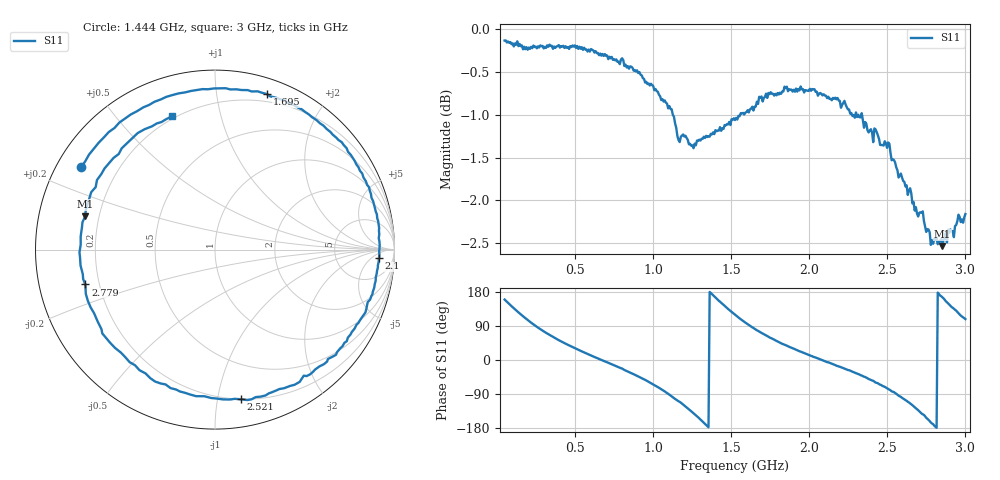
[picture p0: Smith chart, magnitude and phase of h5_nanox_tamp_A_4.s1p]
! nanovna_capture.py 2026-10-18T19:55:33+0900
! NanoVNA-F_V2 fw 0.6.0 SN 4A3639384505514B
! cal: load open short cal'ed  over 50000000-3000000000 Hz, 201 points
! points 401, avg 4
! h5 probe, tape spacer, modified (implanted) Nano X, position A (behind left button), placement 4
# HZ S RI R 50
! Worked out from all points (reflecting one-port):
!   401 points, 50 MHz to 3 GHz, reference 50 ohm
!   lowest |S11| = -2.5 dB at 2.853 GHz (marker M1), VSWR 6.90, Z = 7.36 + j6.16 ohm
!   phase of S11 starts at 160 deg and turns -772 deg over the sweep
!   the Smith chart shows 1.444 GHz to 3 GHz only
!   S11 on the Smith chart (normalised r, x): 1.444 GHz: 0.07, +0.28; 1.695 GHz: 0.13, +1.38; 2.1 GHz: 17, -10; 2.521 GHz: 0.20, -1.17; 2.779 GHz: 0.15, -0.13; 3 GHz: 0.19, +0.71
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5e7  -0.9228 0.3446
1.385e8  -0.5706 0.7938
2.19625e8  -0.145 0.9659
3.08125e8  0.2753 0.9372
4.1875e8  0.6566 0.7234
6.03125e8  0.9524 0.2031
7.875e8  0.8932 -0.3355
9.055e8  0.6852 -0.6477
1.00875e9  0.3711 -0.8431
1.15625e9  -0.2551 -0.8276
1.237375e9  -0.5796 -0.6313
1.3185e9  -0.8257 -0.2508
1.384875e9  -0.8595 0.137
1.443875e9  -0.7443 0.4607
1.525e9  -0.4343 0.7711
1.606125e9  -0.0693 0.8941
1.694625e9  0.2887 0.8667
1.89375e9  0.7886 0.473
2.10025e9  0.9135 -0.0475
2.2625e9  0.7882 -0.4192
2.402625e9  0.5106 -0.7046
2.520625e9  0.1466 -0.8338
2.63125e9  -0.2756 -0.7512
2.71975e9  -0.6101 -0.4879
2.77875e9  -0.7224 -0.1944
2.8525e9  -0.7234 0.1851
2.918875e9  -0.5655 0.5106
3e9  -0.2411 0.7416
